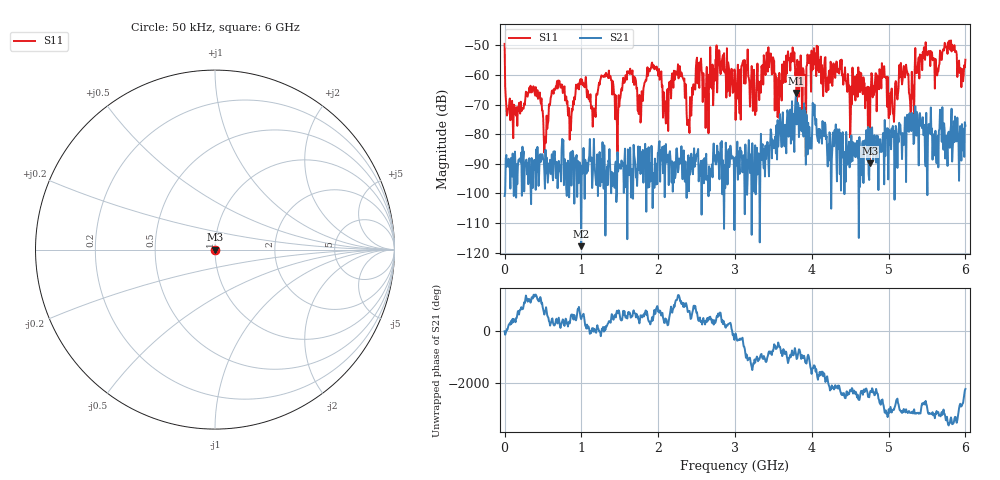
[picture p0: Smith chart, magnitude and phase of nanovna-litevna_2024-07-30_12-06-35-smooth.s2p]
! NanoVNA-App by OneOfEleven et al v1.1.209 (+OD15)
! Date: 2024-07-30 12:06:43
! Start: 50kHz Stop: 6GHz Points: 801
! S-Parameter data: F S11 S21 S12 S22
# Hz S RI R 50
!  Frequency  S11_Real  S11_Imag  S21_Real  S21_Imag  S12_Real  S12_Imag  S22_Real  S22_Imag
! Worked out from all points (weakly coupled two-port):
!   801 points, 50 kHz to 6 GHz, reference 50 ohm
!   highest |S21| = -66.09 dB at 3.795 GHz (marker M1); lowest = -117.8 dB at 997.5 MHz (marker M2)
!   lowest |S11| = -89.8 dB at 4.755 GHz (marker M3), VSWR 1.00, Z = 50 - j0.00253 ohm
!   |S11| at or under -10 dB: start of sweep to end of sweep
!   S12 and S22 are empty: the file has one direction only
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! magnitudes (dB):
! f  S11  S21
! 50 kHz  -49.6  -100.9
! 52.55 MHz  -71.4  -88.3
! 397.5 MHz  -67.0  -88.6
! 540 MHz  -81.4  -93.2
! 682.5 MHz  -62.1  -89.6
! 855 MHz  -74.4  -86.4
! 997.5 MHz  -63.2  -117.8
! 1.005 GHz  -61.5  -90.6
! 1.35 GHz  -61.1  -88.9
! 1.47 GHz  -86.9  -86.1
! 2.003 GHz  -60.4  -86.9
! 2.1 GHz  -76.4  -83.3
! 2.31 GHz  -60.2  -90.8
! 2.4 GHz  -76.5  -99.3
! 2.528 GHz  -60.9  -95.9
! 3 GHz  -59.2  -95.4
! 3.795 GHz  -58.1  -66.1
! 4.005 GHz  -58.4  -79.0
! 4.755 GHz  -89.8  -78.1
! 5.003 GHz  -74.6  -80.9
! 5.49 GHz  -51.9  -72.8
! 6 GHz  -54.9  -77.2
